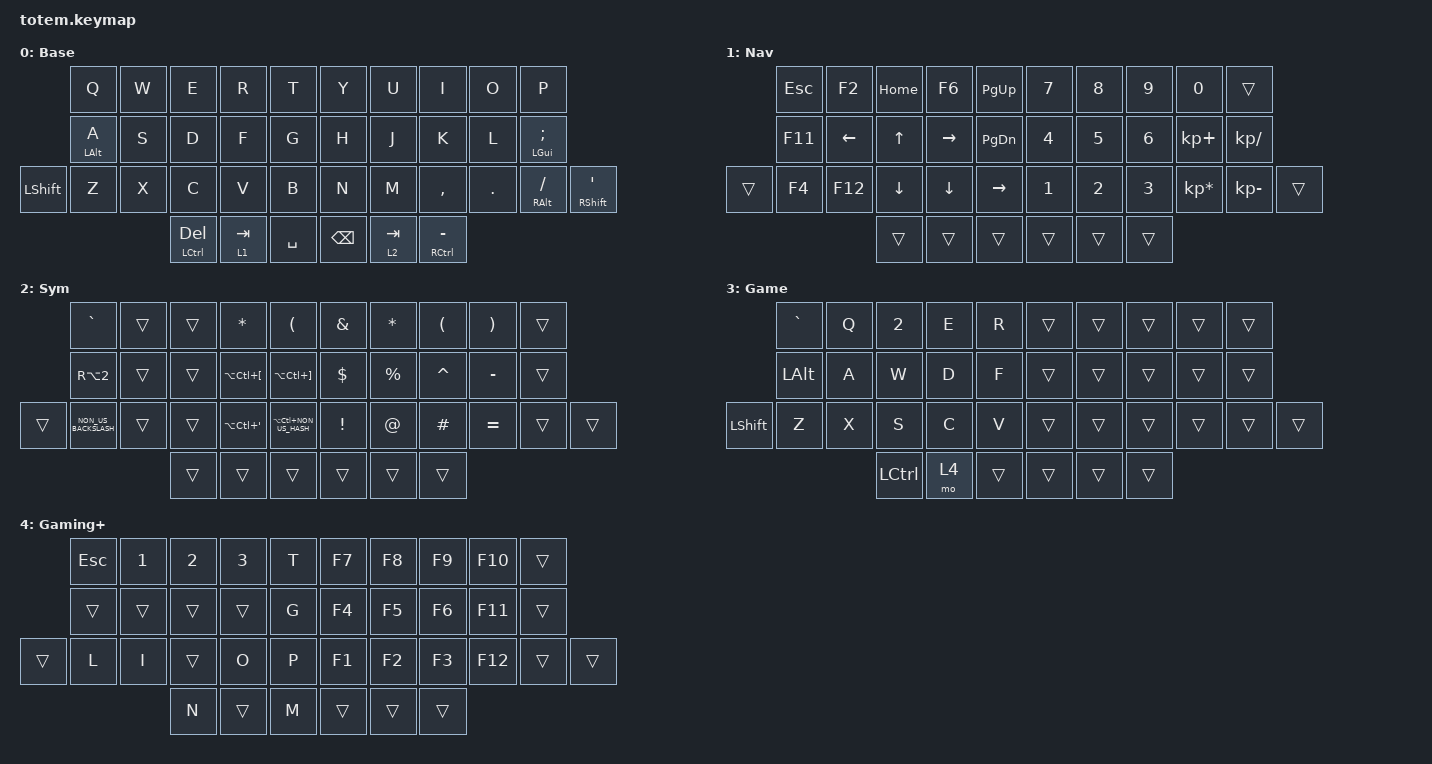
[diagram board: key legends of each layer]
//
//                                                        ▀▀▀▀▀     ▀▀▀▀▀          ▀▀█▀▀
//                                                        ▄▀▀▀▄  ▄  ▄▀▀▀▄  ▄  ▄▀▀▀▄  █  ▄▀▀▀▄
//                                                        █   █  █  █   █  █  █   █  █  █   █
//                                                         ▀▀▀   █   ▀▀▀   █   ▀▀▀   ▀   ▀▀▀
//                                                               █      ▄▄▄█▄▄▄    █   █  
//                                                               ▀      █  █  █     █▄█
//                                                             ▀▀▀▀▀    █  █  █      ▀
//                                                                      ▀  ▀  ▀
//
// ▄▄▄▄▄▄▄▄▄▄▄▄▄▄▄▄▄▄▄▄▄▄▄▄▄▄▄▄▄▄▄▄▄▄▄▄▄▄▄▄▄▄▄▄▄▄▄▄▄▄▄▄▄▄▄▄▄▄▄▄▄▄▄▄▄▄▄▄▄▄▄▄▄▄▄▄▄▄▄▄▄▄▄▄▄▄▄▄▄▄▄▄▄▄▄▄▄▄▄▄▄▄▄▄▄▄▄▄▄▄▄▄▄▄▄▄▄▄▄▄▄▄▄▄▄▄▄▄▄▄▄▄▄▄▄▄▄▄▄▄▄▄▄▄▄▄▄▄▄

#include <behaviors.dtsi>
#include <dt-bindings/zmk/keys.h>

#define Base        0
#define Nav         1
#define Sym         2
#define Fun         3
#define Game        4
#define Gameplus    5

&mt {
    quick-tap-ms = <100>;
    global-quick-tap;
    flavor = "tap-preferred";
    tapping-term-ms = <300>;
};

&lt {
    tapping-term-ms = <300>;
    flavor = "balanced";
    quick-tap-ms = <150>;
};

/ {
    behaviors {
        hm: homerow_mods {
            compatible = "zmk,behavior-hold-tap";
            label = "HOMEROW_MODS";
            #binding-cells = <2>;
            flavor = "tap-preferred";
            tapping-term-ms = <200>;
            quick-tap-ms = <125>;
            global-quick-tap;
            bindings = <&kp>, <&kp>;
        };
    };

    combos {
        compatible = "zmk,combos";

        Enter {
            bindings = <&kp ENTER>;
            key-positions = <8 7 6>;
        };

        WindowLeft {
            bindings = <&kp LG(LS(LEFT_ARROW))>;
            key-positions = <20 21>;
            layers = <0 1 2>;
        };

        WindowRight {
            bindings = <&kp LG(LS(RIGHT_ARROW))>;
            key-positions = <31 30>;
        };

        TabForward {
            bindings = <&kp LC(TAB)>;
            key-positions = <33 34>;
            layers = <0 1 2>;
        };

        TabBack {
            bindings = <&kp LC(LS(TAB))>;
            key-positions = <33 32>;
            layers = <0 1 2>;
        };

        EnterLeft {
            bindings = <&kp ENTER>;
            key-positions = <2 1 3>;
            layers = <0 1 2>;
        };

        TabClose {
            bindings = <&kp LC(W)>;
            key-positions = <32 33 34>;
            layers = <0 1 2>;
        };

        GamingLayer {
            bindings = <&tog 3>;
            key-positions = <33 36>;
        };

        virtualLeft {
            bindings = <&kp LG(LC(LEFT_ARROW))>;
            key-positions = <20 21 10>;
        };

        virtualRight {
            bindings = <&kp LG(LC(RIGHT_ARROW))>;
            key-positions = <19 30 31>;
        };

        showDesktop {
            bindings = <&kp LG(D)>;
            key-positions = <35 36 37>;
        };
    };

    macros {
        nn: nn {
            compatible = "zmk,behavior-macro";
            #binding-cells = <0>;
            bindings = <&kp RA(TILDE) &kp N>;
            label = "NN";
        };
    };

    keymap {
        compatible = "zmk,keymap";

        Base {
            display-name = "Base";
            bindings = <
                &kp Q           &kp W  &kp E                 &kp R      &kp T        &kp Y          &kp U      &kp I                    &kp O    &kp P
                &mt LEFT_ALT A  &kp S  &kp D                 &kp F      &kp G        &kp H          &kp J      &kp K                    &kp L    &mt LEFT_GUI SEMI
&kp LEFT_SHIFT  &kp Z           &kp X  &kp C                 &kp V      &kp B        &kp N          &kp M      &kp COMMA                &kp DOT  &mt RIGHT_ALT SLASH  &mt RIGHT_SHIFT APOS
                                       &mt LEFT_CONTROL DEL  &lt 1 TAB  &kp SPACE    &kp BACKSPACE  &lt 2 TAB  &mt RIGHT_CONTROL MINUS
            >;
        };

        Nav {
            display-name = "Nav";
            bindings = <
        &kp ESCAPE  &kp F2          &kp HOME        &kp F6           &kp PAGE_UP        &kp NUMBER_7  &kp NUMBER_8  &kp NUMBER_9  &kp NUMBER_0     &trans
        &kp F11     &kp LEFT_ARROW  &kp UP_ARROW    &kp RIGHT_ARROW  &kp PAGE_DOWN      &kp NUMBER_4  &kp NUMBER_5  &kp NUMBER_6  &kp KP_PLUS      &kp KP_DIVIDE
&trans  &kp F4      &kp F12         &kp DOWN_ARROW  &kp DOWN_ARROW   &kp RIGHT_ARROW    &kp NUMBER_1  &kp NUMBER_2  &kp NUMBER_3  &kp KP_MULTIPLY  &kp KP_MINUS   &trans
                                    &trans          &trans           &trans             &trans        &trans        &trans
            >;
        };

        Sym {
            display-name = "Sym";
            bindings = <
        &kp GRAVE             &trans  &trans  &kp ASTERISK              &kp LEFT_PARENTHESIS         &kp AMPERSAND  &kp ASTERISK  &kp LEFT_PARENTHESIS  &kp RIGHT_PARENTHESIS  &trans
        &kp RA(NUMBER_2)      &trans  &trans  &kp LA(LC(LEFT_BRACKET))  &kp LA(LC(RIGHT_BRACKET))    &kp DOLLAR     &kp PERCENT   &kp CARET             &kp MINUS              &trans
&trans  &kp NON_US_BACKSLASH  &trans  &trans  &kp LA(LC(APOS))          &kp LA(LC(NON_US_HASH))      &kp EXCL       &kp AT        &kp HASH              &kp EQUAL              &trans  &trans
                                      &trans  &trans                    &trans                       &trans         &trans        &trans
            >;
        };

        Gaming {
            display-name = "Game";
            bindings = <
                &kp GRAVE     &kp Q  &kp NUMBER_2      &kp E  &kp R     &trans  &trans  &trans  &trans  &trans
                &kp LEFT_ALT  &kp A  &kp W             &kp D  &kp F     &trans  &trans  &trans  &trans  &trans
&kp LEFT_SHIFT  &kp Z         &kp X  &kp S             &kp C  &kp V     &trans  &trans  &trans  &trans  &trans  &trans
                                     &kp LEFT_CONTROL  &mo 4  &trans    &trans  &trans  &trans
            >;
        };

        Gaming+ {
            bindings = <
        &kp ESC  &kp NUMBER_1  &kp NUMBER_2  &kp NUMBER_3  &kp T    &kp F7  &kp F8  &kp F9  &kp F10  &trans
        &trans   &trans        &trans        &trans        &kp G    &kp F4  &kp F5  &kp F6  &kp F11  &trans
&trans  &kp L    &kp I         &trans        &kp O         &kp P    &kp F1  &kp F2  &kp F3  &kp F12  &trans  &trans
                               &kp N         &trans        &kp M    &trans  &trans  &trans
            >;
        };
    };
};
